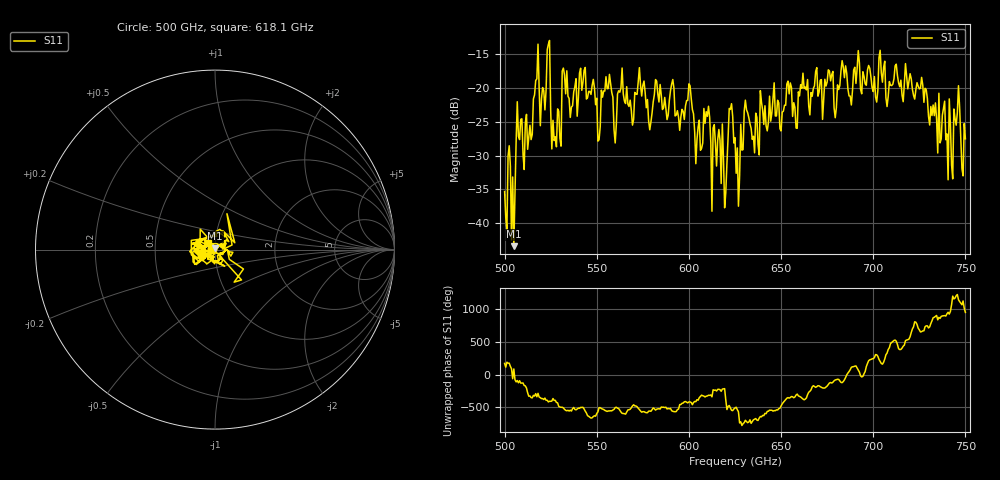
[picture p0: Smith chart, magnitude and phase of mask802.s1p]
!Created with skrf (http://scikit-rf.org).
# GHz S MA R 50.0
!freq magS11 angS11
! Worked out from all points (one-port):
!   401 points, 500 GHz to 750 GHz, reference 50 ohm
!   lowest |S11| = -43.4 dB at 505 GHz (marker M1), VSWR 1.01, Z = 50.1 + j0.673 ohm
!   |S11| at or under -10 dB: start of sweep to end of sweep
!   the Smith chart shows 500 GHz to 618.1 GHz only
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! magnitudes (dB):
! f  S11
! 500 GHz  -35.3
! 505 GHz  -43.4
! 507.5 GHz  -27.2
! 513.8 GHz  -25.5
! 516.9 GHz  -18.9
! 520.6 GHz  -19.9
! 523.8 GHz  -13.5
! 526.9 GHz  -27.8
! 531.2 GHz  -17.5
! 542.5 GHz  -19.2
! 550.6 GHz  -27.9
! 562.5 GHz  -20.6
! 593.8 GHz  -23.4
! 609.4 GHz  -23.5
! 618.8 GHz  -30.5
! 622.5 GHz  -23.2
! 625 GHz  -27.4
! 626.2 GHz  -28.9
! 631.2 GHz  -23.2
! 636.9 GHz  -24.3
! 656.2 GHz  -24.2
! 676.9 GHz  -19.0
! 680 GHz  -22.9
! 683.8 GHz  -16.9
! 687.5 GHz  -21.2
! 691.2 GHz  -17.2
! 718.8 GHz  -20.1
! 750 GHz  -27.5
